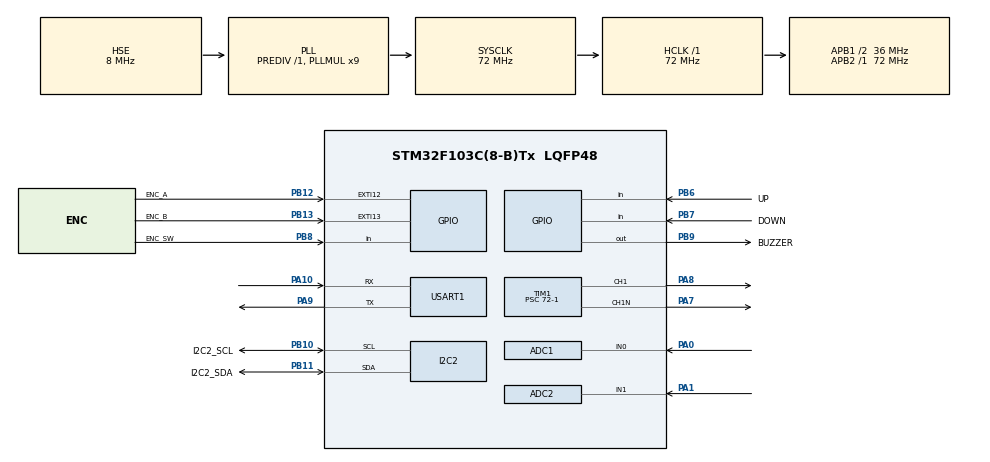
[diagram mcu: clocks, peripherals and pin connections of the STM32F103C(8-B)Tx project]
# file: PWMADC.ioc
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ADC1.Channel-0\#ChannelRegularConversion=ADC_CHANNEL_0
ADC1.ContinuousConvMode=DISABLE
ADC1.Mode=ADC_DUALMODE_REGSIMULT
ADC1.NbrOfConversion=1
ADC1.NbrOfConversionFlag=1
ADC1.Rank-0\#ChannelRegularConversion=1
ADC1.SamplingTime-0\#ChannelRegularConversion=ADC_SAMPLETIME_13CYCLES_5
ADC1.master=1
ADC2.Channel-0\#ChannelRegularConversion=ADC_CHANNEL_1
ADC2.Mode=ADC_DUALMODE_REGSIMULT
ADC2.NbrOfConversionFlag=1
ADC2.Rank-0\#ChannelRegularConversion=1
ADC2.SamplingTime-0\#ChannelRegularConversion=ADC_SAMPLETIME_13CYCLES_5
Mcu.Family=STM32F1
Mcu.Name=STM32F103C(8-B)Tx
Mcu.Package=LQFP48
NVIC.EXTI15_10_IRQn=true\:1\:0\:true\:false\:true\:true\:true\:true
NVIC.PriorityGroup=NVIC_PRIORITYGROUP_4
NVIC.USART1_IRQn=true\:2\:0\:true\:false\:true\:true\:true\:true
PA0-WKUP.Signal=ADCx_IN0
PA1.Signal=ADCx_IN1
PA10.Mode=Asynchronous
PA10.Signal=USART1_RX
PA13.Mode=Serial_Wire
PA13.Signal=SYS_JTMS-SWDIO
PA14.Mode=Serial_Wire
PA14.Signal=SYS_JTCK-SWCLK
PA7.Mode=PWM Generation1 CH1 CH1N
PA7.Signal=TIM1_CH1N
PA8.Signal=S_TIM1_CH1
PA9.Mode=Asynchronous
PA9.Signal=USART1_TX
PB10.GPIO_Label=I2C2_SCL
PB10.GPIO_Mode=GPIO_MODE_AF_OD
PB10.Mode=I2C
PB10.Signal=I2C2_SCL
PB11.GPIO_Label=I2C2_SDA
PB11.Mode=I2C
PB11.Signal=I2C2_SDA
PB12.GPIO_Label=ENC_A
PB12.GPIO_ModeDefaultEXTI=GPIO_MODE_IT_RISING_FALLING
PB12.GPIO_PuPd=GPIO_PULLUP
PB12.Signal=GPXTI12
PB13.GPIO_Label=ENC_B
PB13.GPIO_ModeDefaultEXTI=GPIO_MODE_IT_RISING_FALLING
PB13.GPIO_PuPd=GPIO_PULLUP
PB13.Signal=GPXTI13
PB6.GPIO_Label=UP
PB6.GPIO_PuPd=GPIO_PULLUP
PB6.Signal=GPIO_Input
PB7.GPIO_Label=DOWN
PB7.GPIO_PuPd=GPIO_PULLUP
PB7.Signal=GPIO_Input
PB8.GPIO_Label=ENC_SW
PB8.GPIO_PuPd=GPIO_PULLUP
PB8.Signal=GPIO_Input
PB9.GPIO_Label=BUZZER
PB9.GPIO_Speed=GPIO_SPEED_FREQ_LOW
PB9.PinState=GPIO_PIN_SET
PB9.Signal=GPIO_Output
PD0-OSC_IN.Mode=HSE-External-Oscillator
PD0-OSC_IN.Signal=RCC_OSC_IN
PD1-OSC_OUT.Mode=HSE-External-Oscillator
PD1-OSC_OUT.Signal=RCC_OSC_OUT
ProjectManager.HeapSize=0x200
ProjectManager.StackSize=0x400
ProjectManager.TargetToolchain=CMake
RCC.ADCPresc=RCC_ADCPCLK2_DIV6
RCC.AHBFreq_Value=72000000
RCC.APB1CLKDivider=RCC_HCLK_DIV2
RCC.APB1Freq_Value=36000000
RCC.APB1TimFreq_Value=72000000
RCC.APB2Freq_Value=72000000
RCC.APB2TimFreq_Value=72000000
RCC.HCLKFreq_Value=72000000
RCC.PLLMUL=RCC_PLL_MUL9
RCC.PLLSourceVirtual=RCC_PLLSOURCE_HSE
RCC.SYSCLKFreq_VALUE=72000000
RCC.SYSCLKSource=RCC_SYSCLKSOURCE_PLLCLK
RCC.USBFreq_Value=72000000
SH.ADCx_IN0.0=ADC1_IN0,IN0
SH.ADCx_IN1.0=ADC2_IN1,IN1
SH.S_TIM1_CH1.0=TIM1_CH1,PWM Generation1 CH1 CH1N
TIM1.Channel-PWM\ Generation1\ CH1\ CH1N=TIM_CHANNEL_1
TIM1.DeadTime=72
TIM1.Period=100-1
TIM1.Prescaler=72-1
TIM1.Pulse-PWM\ Generation1\ CH1\ CH1N=50
USART1.VirtualMode=VM_ASYNC
board=custom

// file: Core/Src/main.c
/* USER CODE BEGIN Header */
/**
  ******************************************************************************
  * @file           : main.c
  * @brief          : Main program body
  ******************************************************************************
  * @attention
  *
  * Copyright (c) 2026 STMicroelectronics.
  * All rights reserved.
  *
  * This software is licensed under terms that can be found in the LICENSE file
  * in the root directory of this software component.
  * If no LICENSE file comes with this software, it is provided AS-IS.
  *
  ******************************************************************************
  */
/* USER CODE END Header */
#include "main.h"

/* USER CODE BEGIN Includes */
#include <stdio.h>
#include <stdlib.h>
#include <string.h>

/* USER CODE END Includes */

/* USER CODE BEGIN PD */
#define ADC_REFERENCE_MV 3300U
#define ADC_FULL_SCALE   4095U
#define CURRENT_SETPOINT_MIN_MA 0U
#define CURRENT_SETPOINT_MAX_MA 600U
#define CURRENT_ALARM_THRESHOLD_MA 550U
#define KEY_SCAN_PERIOD_MS 1U
#define KEY_DEBOUNCE_MS 30U
#define ENC_SW_DEBOUNCE_MS 8U
#define ENCODER_STEP_DEBOUNCE_MS 3U
#define ADC_PRINT_PERIOD_MS 500U
#define DISPLAY_REFRESH_PERIOD_MS 500U
#define LCD_RECOVERY_PERIOD_MS 3000U
#define PWM_DUTY_DEFAULT_LIMIT_PERMILLE 900U
#define PWM_DUTY_HARD_LIMIT_PERMILLE 900U
#define CURRENT_SENSE_RESISTOR_MOHM 5620L
#define ADC1_TRUE_NUMERATOR 11UL
#define ADC1_TRUE_DENOMINATOR 10UL
#define ADC2_TRUE_NUMERATOR 11UL
#define ADC2_TRUE_DENOMINATOR 1UL
#define ADC_AVERAGE_SAMPLES 32U
#define ADC_TRIM_DISCARD_SAMPLES 8U
#define ADC_SAMPLE_SPACING_MS 1U
#define ADC_CURRENT_FIT_SCALE 1000000LL
#define ADC_CURRENT_FIT_GAIN 924258LL
#define ADC_CURRENT_FIT_OFFSET_SCALED 1041609LL
#define ADC_LOW_CURRENT_THRESHOLD_UA 20000UL
#define ADC_VERY_LOW_CURRENT_THRESHOLD_UA 10000UL
#define ADC_VERY_LOW_CURRENT_CORRECTION_NUMERATOR 940UL
#define ADC_VERY_LOW_CURRENT_CORRECTION_DENOMINATOR 1000UL
#define ADC_LOW_CURRENT_FIT_GAIN 915000LL
#define ADC_LOW_CURRENT_FIT_OFFSET_SCALED 0LL
#define ADC_HIGH_CORRECTION_START_UA 100000UL
#define ADC_HIGH_CORRECTION_NUMERATOR 2170UL
#define ADC_HIGH_CORRECTION_DENOMINATOR 100000UL
#define PID_CONTROL_PERIOD_MS 50U
#define PID_STEP_LIMIT_PERMILLE 20L
#define PID_LOW_CURRENT_STEP_LIMIT_PERMILLE 20L
#define PID_MEAS_FILTER_SHIFT 3U
#define PID_LOW_CURRENT_MEAS_FILTER_SHIFT 1U
#define PID_VERY_LOW_CURRENT_MEAS_FILTER_SHIFT 1U
#define PID_DUTY_FINE_SCALE 1000L
#define PID_USE_FEEDFORWARD 0U
#define TIM1_FINE_PWM_PRESCALER 8U
#define TIM1_FINE_PWM_PERIOD_COUNTS 6000U
#define FEEDFORWARD_TABLE_SIZE 51U
#define LCD_COLUMNS 16U
#define LCD_ROWS 2U
#define LCD_I2C_BACKLIGHT 0x08U
#define LCD_I2C_ENABLE 0x04U
#define LCD_I2C_READ_WRITE 0x02U
#define LCD_I2C_REGISTER_SELECT 0x01U
#define LCD_MAP_TEST_MODE 0U
#define LCD_MAP_TEST_HOLD_MS 2500U

/* USER CODE END PD */

ADC_HandleTypeDef hadc1;
ADC_HandleTypeDef hadc2;

I2C_HandleTypeDef hi2c2;

TIM_HandleTypeDef htim1;

UART_HandleTypeDef huart1;

/* USER CODE BEGIN PV */
typedef struct
{
  uint8_t rs;
  uint8_t rw;
  uint8_t en;
  uint8_t bl;
  uint8_t d4;
  uint8_t d5;
  uint8_t d6;
  uint8_t d7;
  const char *name;
} LCD_I2C_MapTypeDef;

const LCD_I2C_MapTypeDef lcd_i2c_maps[] = {
  {0x01U, 0x02U, 0x04U, 0x08U, 0x10U, 0x20U, 0x40U, 0x80U, "P0RS P4D4"},
  {0x80U, 0x40U, 0x20U, 0x10U, 0x01U, 0x02U, 0x04U, 0x08U, "P7RS P0D4"},
  {0x04U, 0x02U, 0x01U, 0x08U, 0x10U, 0x20U, 0x40U, 0x80U, "P2RS P4D4"},
  {0x01U, 0x02U, 0x04U, 0x80U, 0x10U, 0x20U, 0x40U, 0x08U, "P0RS D7P3"}
};
const uint8_t lcd_i2c_map_count = (uint8_t)(sizeof(lcd_i2c_maps) / sizeof(lcd_i2c_maps[0]));
uint8_t lcd_i2c_map_index = 0U;
uint16_t adc1_value = 0;
uint16_t adc2_value = 0;
uint32_t adc1_voltage_mv = 0;
uint32_t adc2_voltage_mv = 0;
volatile uint16_t current_setpoint_ma = 0;
uint16_t displayed_current_setpoint_ma = 0xFFFFU;
uint8_t lcd_ready = 0;
uint8_t lcd_test_mode = 0U;
uint16_t lcd_i2c_addr = 0U;
char uart_message[512] = "";
char uart_rx_line[48] = "";
uint8_t uart_rx_line_index = 0;
uint8_t uart_rx_byte = 0;
volatile uint8_t uart_command_ready = 0;
char uart_command_line[48] = "";
int32_t pid_kp_milli = 50;
int32_t pid_ki_milli = 80;
int32_t pid_kd_milli = 0;
uint8_t pid_enabled = 0;
int32_t pid_integral_permille_fine = 0;
int32_t pid_last_error_ua = 0;
int32_t pid_measured_current_ma = 0;
int32_t pid_error_ma = 0;
int32_t pid_measured_current_ua = 0;
int32_t pid_error_ua = 0;
int32_t pid_filtered_current_ua = 0;
uint8_t pid_filter_initialized = 0U;
int32_t pid_feedforward_permille = 0;
int32_t pid_trim_permille = 0;
int32_t pid_p_term_permille = 0;
int32_t pid_p_term_permille_fine = 0;
uint16_t pwm_duty_permille = 0;
uint16_t pwm_duty_limit_permille = PWM_DUTY_DEFAULT_LIMIT_PERMILLE;
volatile uint8_t encoder_switch_press_events = 0;
volatile GPIO_PinState encoder_switch_stable_state = GPIO_PIN_SET;
volatile int16_t encoder_delta_steps = 0;
const uint16_t feedforward_current_ma[FEEDFORWARD_TABLE_SIZE] = {
  0U, 10U, 20U, 30U, 40U, 50U, 60U, 70U, 80U, 90U,
  100U, 110U, 120U, 130U, 140U, 150U, 160U, 170U, 180U, 190U,
  200U, 210U, 220U, 230U, 240U, 250U, 260U, 270U, 280U, 290U,
  300U, 310U, 320U, 330U, 340U, 350U, 360U, 370U, 380U, 390U,
  400U, 410U, 420U, 430U, 440U, 450U, 460U, 470U, 480U, 490U,
  500U
};
const uint16_t feedforward_duty_permille[FEEDFORWARD_TABLE_SIZE] = {
  0U, 18U, 36U, 54U, 71U, 87U, 104U, 120U, 137U, 153U,
  170U, 186U, 202U, 219U, 235U, 251U, 268U, 284U, 301U, 317U,
  333U, 350U, 364U, 378U, 392U, 407U, 424U, 440U, 456U, 472U,
  488U, 504U, 520U, 537U, 553U, 569U, 585U, 602U, 618U, 634U,
  650U, 666U, 682U, 698U, 714U, 730U, 746U, 762U, 778U, 794U,
  810U
};

/* USER CODE END PV */

void SystemClock_Config(void);
static void MX_GPIO_Init(void);
static void MX_TIM1_Init(void);
static void MX_ADC1_Init(void);
static void MX_ADC2_Init(void);
static void MX_USART1_UART_Init(void);
static void MX_I2C2_Init(void);
/* USER CODE BEGIN PFP */
static HAL_StatusTypeDef Read_Dual_ADC_Once(void);
static uint16_t ADC_Trimmed_Average(uint16_t *samples, uint8_t count, uint8_t trim_discard);
static void Print_Dual_ADC_Values(void);
static void Process_Current_Set_Keys(void);
static void Process_Encoder_Transition(uint16_t GPIO_Pin);
static void Process_Encoder_Delta(void);
static void Process_Encoder_Switch_Events(void);
static void Process_UART_Command_Bytes(void);
static void Set_PWM_Duty_Permille(uint16_t duty_permille);
static uint16_t Estimate_Feedforward_Duty_Permille(uint16_t setpoint_ma);
static uint32_t Get_Measured_Current_uA(void);
static uint16_t Get_Measured_Current_Centi_mA(void);
static void Reset_PID_State(void);
static void Prepare_PID_Start(void);
static void Apply_Current_Setpoint(void);
static void Update_PID_Control(void);
static void Update_Buzzer(void);
static HAL_StatusTypeDef LCD_Init(void);
static void LCD_Show_Status(void);
static void LCD_Show_Map_Test(void);
static void LCD_Print_Diagnostic(const char *tag);
static void LCD_Print_I2C_Scan(void);
static void LCD_Clear(void);
void Encoder_Switch_1ms_Task(void);

/* USER CODE END PFP */

/* USER CODE BEGIN 0 */
static HAL_StatusTypeDef Read_Dual_ADC_Once(void)
{
  HAL_StatusTypeDef status = HAL_OK;
  uint32_t dual_adc_value = 0;
  uint16_t adc1_samples[ADC_AVERAGE_SAMPLES] = {0};
  uint16_t adc2_samples[ADC_AVERAGE_SAMPLES] = {0};
  uint16_t adc1_trimmed = 0;
  uint16_t adc2_trimmed = 0;
  uint8_t sample = 0;

  adc1_value = 0;
  adc2_value = 0;
  adc1_voltage_mv = 0;
  adc2_voltage_mv = 0;

  for (sample = 0U; sample < ADC_AVERAGE_SAMPLES; sample++)
  {
    __HAL_ADC_CLEAR_FLAG(&hadc1, ADC_FLAG_EOC);
    __HAL_ADC_CLEAR_FLAG(&hadc2, ADC_FLAG_EOC);

    status = HAL_ADC_Start(&hadc2);
    if (status != HAL_OK)
    {
      return status;
    }

    status = HAL_ADC_Start(&hadc1);
    if (status != HAL_OK)
    {
      HAL_ADC_Stop(&hadc2);
      return status;
    }

    status = HAL_ADC_PollForConversion(&hadc1, 10);
    if (status != HAL_OK)
    {
      HAL_ADC_Stop(&hadc1);
      HAL_ADC_Stop(&hadc2);
      return status;
    }

    dual_adc_value = HAL_ADCEx_MultiModeGetValue(&hadc1);
    adc1_samples[sample] = (uint16_t)(dual_adc_value & 0xFFFFU);
    adc2_samples[sample] = (uint16_t)((dual_adc_value >> 16U) & 0xFFFFU);

    HAL_ADC_Stop(&hadc1);
    HAL_ADC_Stop(&hadc2);

    if ((sample + 1U) < ADC_AVERAGE_SAMPLES)
    {
      HAL_Delay(ADC_SAMPLE_SPACING_MS);
    }
  }

  adc1_trimmed = ADC_Trimmed_Average(adc1_samples, ADC_AVERAGE_SAMPLES, ADC_TRIM_DISCARD_SAMPLES);
  adc2_trimmed = ADC_Trimmed_Average(adc2_samples, ADC_AVERAGE_SAMPLES, ADC_TRIM_DISCARD_SAMPLES);

  adc1_value = adc1_trimmed;
  adc2_value = adc2_trimmed;

  adc1_voltage_mv = (((uint32_t)adc1_value * ADC_REFERENCE_MV) / ADC_FULL_SCALE);
  adc2_voltage_mv = (((uint32_t)adc2_value * ADC_REFERENCE_MV) / ADC_FULL_SCALE);
  adc1_voltage_mv = (adc1_voltage_mv * ADC1_TRUE_NUMERATOR) / ADC1_TRUE_DENOMINATOR;
  adc2_voltage_mv = (adc2_voltage_mv * ADC2_TRUE_NUMERATOR) / ADC2_TRUE_DENOMINATOR;

  return HAL_OK;
}

static void Print_Dual_ADC_Values(void)
{
  int length = snprintf(uart_message,
                        sizeof(uart_message),
                        "Set:%umA IMEAS:%ld.%03ldmA ERR:%c%ld.%03ldmA | ADC1:%u,%lu.%03luV ADC2:%u,%lu.%03luV | FF:%ld.%ld%% TRIM:%ld.%ld%% P:%ld.%ld%% I:%ld.%ld%% OUT:%u.%u%% LIM:%u.%u%% | SW:%u EVT:%u | I2C:0x%02X | PID:%s KP:%ld.%03ld KI:%ld.%03ld KD:%ld.%03ld\r\n",
                        current_setpoint_ma,
                        pid_measured_current_ua / 1000L,
                        labs(pid_measured_current_ua % 1000L),
                        (pid_error_ua < 0L) ? '-' : '+',
                        labs(pid_error_ua / 1000L),
                        labs(pid_error_ua % 1000L),
                        adc1_value,
                        adc1_voltage_mv / 1000UL,
                        adc1_voltage_mv % 1000UL,
                        adc2_value,
                        adc2_voltage_mv / 1000UL,
                        adc2_voltage_mv % 1000UL,
                        pid_feedforward_permille / 10L,
                        labs(pid_feedforward_permille % 10L),
                        pid_trim_permille / 10L,
                        labs(pid_trim_permille % 10L),
                        pid_p_term_permille / 10L,
                        labs(pid_p_term_permille % 10L),
                        (pid_integral_permille_fine / PID_DUTY_FINE_SCALE) / 10L,
                        labs((pid_integral_permille_fine / PID_DUTY_FINE_SCALE) % 10L),
                        pwm_duty_permille / 10U,
                        pwm_duty_permille % 10U,
                        pwm_duty_limit_permille / 10U,
                        pwm_duty_limit_permille % 10U,
                        (encoder_switch_stable_state == GPIO_PIN_RESET) ? 0U : 1U,
                        encoder_switch_press_events,
                        (unsigned int)(lcd_i2c_addr >> 1U),
                        pid_enabled ? "ON" : "OFF",
                        pid_kp_milli / 1000L,
                        pid_kp_milli % 1000L,
                        pid_ki_milli / 1000L,
                        pid_ki_milli % 1000L,
                        pid_kd_milli / 1000L,
                        pid_kd_milli % 1000L);

  if (length > 0)
  {
    if ((uint32_t)length >= sizeof(uart_message))
    {
      length = sizeof(uart_message) - 1;
    }
    HAL_UART_Transmit(&huart1, (uint8_t *)uart_message, (uint16_t)length, 100);
  }
}

static void UART_SendLine(const char *text)
{
  HAL_UART_Transmit(&huart1, (uint8_t *)text, (uint16_t)strlen(text), 100);
  HAL_UART_Transmit(&huart1, (uint8_t *)"\r\n", 2, 100);
}

static int32_t Parse_Fixed3(const char *text)
{
  int32_t sign = 1;
  int32_t integer_part = 0;
  int32_t fraction_part = 0;
  uint8_t fraction_digits = 0;

  if (*text == '-')
  {
    sign = -1;
    text++;
  }

  while ((*text >= '0') && (*text <= '9'))
  {
    integer_part = integer_part * 10 + (*text - '0');
    text++;
  }

  if (*text == '.')
  {
    text++;
    while ((*text >= '0') && (*text <= '9') && (fraction_digits < 3U))
    {
      fraction_part = fraction_part * 10 + (*text - '0');
      fraction_digits++;
      text++;
    }
  }

  while (fraction_digits < 3U)
  {
    fraction_part *= 10;
    fraction_digits++;
  }

  return sign * (integer_part * 1000 + fraction_part);
}

static uint16_t Parse_U16_Limited(const char *text, uint16_t min_value, uint16_t max_value)
{
  uint32_t value = 0;

  while ((*text >= '0') && (*text <= '9'))
  {
    value = value * 10U + (uint32_t)(*text - '0');
    text++;
  }

  if (value < min_value)
  {
    value = min_value;
  }
  else if (value > max_value)
  {
    value = max_value;
  }

  return (uint16_t)value;
}

static void Send_PID_Status(void)
{
  int length = snprintf(uart_message,
                        sizeof(uart_message),
                        "STATUS PID:%s SET:%umA DUTY:%u.%u%% LIM:%u.%u%% SW:%u EVT:%u KP:%ld.%03ld KI:%ld.%03ld KD:%ld.%03ld",
                        pid_enabled ? "ON" : "OFF",
                        current_setpoint_ma,
                        pwm_duty_permille / 10U,
                        pwm_duty_permille % 10U,
                        pwm_duty_limit_permille / 10U,
                        pwm_duty_limit_permille % 10U,
                        (encoder_switch_stable_state == GPIO_PIN_RESET) ? 0U : 1U,
                        encoder_switch_press_events,
                        pid_kp_milli / 1000L,
                        pid_kp_milli % 1000L,
                        pid_ki_milli / 1000L,
                        pid_ki_milli % 1000L,
                        pid_kd_milli / 1000L,
                        pid_kd_milli % 1000L);

  if (length > 0)
  {
    if ((uint32_t)length >= sizeof(uart_message))
    {
      length = sizeof(uart_message) - 1;
    }
    HAL_UART_Transmit(&huart1, (uint8_t *)uart_message, (uint16_t)length, 100);
    HAL_UART_Transmit(&huart1, (uint8_t *)"\r\n", 2, 100);
  }
}

static void Process_UART_Command_Line(char *line)
{
  if (strncmp(line, "KP=", 3) == 0)
  {
    pid_kp_milli = Parse_Fixed3(&line[3]);
    UART_SendLine("OK KP");
  }
  else if (strncmp(line, "KI=", 3) == 0)
  {
    pid_ki_milli = Parse_Fixed3(&line[3]);
    UART_SendLine("OK KI");
  }
  else if (strncmp(line, "KD=", 3) == 0)
  {
    pid_kd_milli = Parse_Fixed3(&line[3]);
    UART_SendLine("OK KD");
  }
  else if (strncmp(line, "SET=", 4) == 0)
  {
    current_setpoint_ma = Parse_U16_Limited(&line[4], CURRENT_SETPOINT_MIN_MA, CURRENT_SETPOINT_MAX_MA);
    Apply_Current_Setpoint();
    LCD_Show_Status();
    UART_SendLine("OK SET");
  }
  else if (strncmp(line, "DUTY=", 5) == 0)
  {
    int32_t duty_permille = Parse_Fixed3(&line[5]) / 100L;
    if (duty_permille < 0)
    {
      duty_permille = 0;
    }
    pid_enabled = 0U;
    Set_PWM_Duty_Permille((uint16_t)duty_permille);
    Reset_PID_State();
    LCD_Clear();
    LCD_Show_Status();
    UART_SendLine("OK DUTY");
  }
  else if (strncmp(line, "DUTYMAX=", 8) == 0)
  {
    uint16_t requested_limit = (uint16_t)(Parse_Fixed3(&line[8]) / 100L);
    if (requested_limit > PWM_DUTY_HARD_LIMIT_PERMILLE)
    {
      requested_limit = PWM_DUTY_HARD_LIMIT_PERMILLE;
    }
    pwm_duty_limit_permille = requested_limit;
    if (pwm_duty_permille > pwm_duty_limit_permille)
    {
      Set_PWM_Duty_Permille(pwm_duty_limit_permille);
    }
    UART_SendLine("OK DUTYMAX");
  }
  else if (strcmp(line, "START") == 0)
  {
    Prepare_PID_Start();
    pid_enabled = 1U;
    UART_SendLine("OK START");
  }
  else if (strcmp(line, "STOP") == 0)
  {
    pid_enabled = 0U;
    Set_PWM_Duty_Permille(0);
    Reset_PID_State();
    UART_SendLine("OK STOP");
  }
  else if (strcmp(line, "PIDRESET") == 0)
  {
    Reset_PID_State();
    UART_SendLine("OK PIDRESET");
  }
  else if (strcmp(line, "STATUS") == 0)
  {
    Send_PID_Status();
  }
  else if (strcmp(line, "HELP") == 0)
  {
    UART_SendLine("CMD: KP=0.020 KI=0.001 KD=0.000 SET=100 DUTY=5.0 DUTYMAX=90.0 START STOP PIDRESET STATUS");
  }
  else
  {
    UART_SendLine("ERR UNKNOWN CMD");
  }
}

static void Process_UART_Command_Bytes(void)
{
  if (uart_command_ready != 0U)
  {
    __disable_irq();
    uart_command_ready = 0U;
    __enable_irq();
    Process_UART_Command_Line(uart_command_line);
  }
}

void HAL_UART_RxCpltCallback(UART_HandleTypeDef *huart)
{
  if (huart->Instance == USART1)
  {
    if ((uart_rx_byte == '\r') || (uart_rx_byte == '\n'))
    {
      if ((uart_rx_line_index > 0U) && (uart_command_ready == 0U))
      {
        uart_rx_line[uart_rx_line_index] = '\0';
        for (uint8_t i = 0; i <= uart_rx_line_index; i++)
        {
          uart_command_line[i] = uart_rx_line[i];
        }
        uart_command_ready = 1U;
        uart_rx_line_index = 0U;
      }
    }
    else if (uart_rx_line_index < (sizeof(uart_rx_line) - 1U))
    {
      uart_rx_line[uart_rx_line_index] = (char)uart_rx_byte;
      uart_rx_line_index++;
    }
    else
    {
      uart_rx_line_index = 0U;
    }

    HAL_UART_Receive_IT(&huart1, &uart_rx_byte, 1);
  }
}

static void Set_PWM_Duty_Permille(uint16_t duty_permille)
{
  uint32_t timer_period_counts = (__HAL_TIM_GET_AUTORELOAD(&htim1) + 1U);
  uint32_t compare_value = 0;

  if (duty_permille > pwm_duty_limit_permille)
  {
    duty_permille = pwm_duty_limit_permille;
  }

  pwm_duty_permille = duty_permille;
  compare_value = (timer_period_counts * pwm_duty_permille) / 1000U;
  __HAL_TIM_SET_COMPARE(&htim1, TIM_CHANNEL_1, compare_value);
}

static uint16_t Estimate_Feedforward_Duty_Permille(uint16_t setpoint_ma)
{
  uint8_t index = 0;
  uint32_t duty = 0;
  uint32_t current_span = 0;
  uint32_t duty_span = 0;
  uint32_t current_offset = 0;

  if (PID_USE_FEEDFORWARD == 0U)
  {
    (void)setpoint_ma;
    return 0U;
  }

  if (setpoint_ma <= feedforward_current_ma[0])
  {
    return feedforward_duty_permille[0];
  }

  for (index = 1U; index < FEEDFORWARD_TABLE_SIZE; index++)
  {
    if (setpoint_ma <= feedforward_current_ma[index])
    {
      current_span = (uint32_t)feedforward_current_ma[index] - feedforward_current_ma[index - 1U];
      duty_span = (uint32_t)feedforward_duty_permille[index] - feedforward_duty_permille[index - 1U];
      current_offset = (uint32_t)setpoint_ma - feedforward_current_ma[index - 1U];
      duty = (uint32_t)feedforward_duty_permille[index - 1U] +
             ((duty_span * current_offset) / current_span);
      return (uint16_t)duty;
    }
  }

  return feedforward_duty_permille[FEEDFORWARD_TABLE_SIZE - 1U];
}

static uint32_t Get_Measured_Current_uA(void)
{
  if (pwm_duty_permille == 0U)
  {
    return 0UL;
  }

  uint64_t adc_voltage_uv = ((uint64_t)adc1_value * 3300000ULL * (uint64_t)ADC1_TRUE_NUMERATOR) /
                            ((uint64_t)ADC_FULL_SCALE * (uint64_t)ADC1_TRUE_DENOMINATOR);
  uint32_t measured_current_ua = (uint32_t)((adc_voltage_uv * 1000ULL +
                                            ((uint64_t)CURRENT_SENSE_RESISTOR_MOHM / 2ULL)) /
                                           (uint64_t)CURRENT_SENSE_RESISTOR_MOHM);

  /* DM3058-calibrated piecewise correction */
  if ((measured_current_ua > 0UL) && (measured_current_ua <= ADC_VERY_LOW_CURRENT_THRESHOLD_UA))
  {
    /* <10mA: ADC over-reads raw; 0.940 correction validated at SET=5mA */
    measured_current_ua = (uint32_t)(((uint64_t)measured_current_ua *
                                      (uint64_t)ADC_VERY_LOW_CURRENT_CORRECTION_NUMERATOR +
                                      ((uint64_t)ADC_VERY_LOW_CURRENT_CORRECTION_DENOMINATOR / 2ULL)) /
                                     (uint64_t)ADC_VERY_LOW_CURRENT_CORRECTION_DENOMINATOR);
  }
  else if (measured_current_ua > 12000UL)
  {
    /* >12mA: ADC under-reads by ~2% across range; global boost */
    measured_current_ua = (uint32_t)(((uint64_t)measured_current_ua * 1020ULL + 500ULL) / 1000ULL);
  }

  if (measured_current_ua > 65535000UL)
  {
    measured_current_ua = 65535000UL;
  }

  return measured_current_ua;
}

static uint16_t Get_Measured_Current_Centi_mA(void)
{
  uint32_t measured_current_centi_ma = (Get_Measured_Current_uA() + 5UL) / 10UL;

  if (measured_current_centi_ma > 65535UL)
  {
    measured_current_centi_ma = 65535UL;
  }

  return (uint16_t)measured_current_centi_ma;
}

static void Reset_PID_State(void)
{
  pid_integral_permille_fine = ((int32_t)pwm_duty_permille - pid_feedforward_permille) * PID_DUTY_FINE_SCALE;
  pid_last_error_ua = 0;
  pid_p_term_permille = 0;
  pid_p_term_permille_fine = 0;
  pid_filtered_current_ua = 0;
  pid_filter_initialized = 0U;
  pid_trim_permille = (int32_t)pwm_duty_permille - pid_feedforward_permille;
}

static void Prepare_PID_Start(void)
{
  uint16_t feedforward_duty_permille = Estimate_Feedforward_Duty_Permille(current_setpoint_ma);

  pid_feedforward_permille = (int32_t)feedforward_duty_permille;
  pid_integral_permille_fine = ((int32_t)pwm_duty_permille - pid_feedforward_permille) * PID_DUTY_FINE_SCALE;
  pid_trim_permille = (int32_t)pwm_duty_permille - pid_feedforward_permille;
  pid_p_term_permille = 0;
  pid_p_term_permille_fine = 0;
  pid_last_error_ua = 0;
  pid_filtered_current_ua = 0;
  pid_filter_initialized = 0U;
}

static void Apply_Current_Setpoint(void)
{
  if (current_setpoint_ma == 0U)
  {
    pid_enabled = 0U;
    Set_PWM_Duty_Permille(0);
    Reset_PID_State();
  }
  else
  {
    if (pid_enabled == 0U)
    {
      Prepare_PID_Start();
      pid_enabled = 1U;
    }
    else
    {
      pid_feedforward_permille = (int32_t)Estimate_Feedforward_Duty_Permille(current_setpoint_ma);
      pid_integral_permille_fine = ((int32_t)pwm_duty_permille - pid_feedforward_permille) * PID_DUTY_FINE_SCALE;
      pid_trim_permille = (int32_t)pwm_duty_permille - pid_feedforward_permille;
      pid_p_term_permille = 0;
      pid_p_term_permille_fine = 0;
      pid_last_error_ua = 0;
      pid_filtered_current_ua = 0;
      pid_filter_initialized = 0U;
    }
  }
}

static void Update_PID_Control(void)
{
  int32_t raw_current_ua = (int32_t)Get_Measured_Current_uA();
  int32_t measured_current_ua = raw_current_ua;
  int32_t measured_current_ma = (measured_current_ua + 500L) / 1000L;
  int32_t error_ua = ((int32_t)current_setpoint_ma * 1000L) - measured_current_ua;
  int32_t error_ma = (error_ua >= 0L) ? ((error_ua + 500L) / 1000L) : -(((-error_ua) + 500L) / 1000L);
  int32_t effective_kp_milli = pid_kp_milli;
  int32_t effective_ki_milli = pid_ki_milli;
  int32_t p_term_permille_fine = 0;
  int32_t i_delta_permille_fine = 0;
  int32_t requested_permille_fine = 0;
  int32_t requested_permille = 0;
  int32_t step_permille = 0;
  int32_t active_step_limit_permille = PID_STEP_LIMIT_PERMILLE;
  uint8_t meas_filter_shift = PID_MEAS_FILTER_SHIFT;
  int32_t trim_min_permille_fine = -pid_feedforward_permille * PID_DUTY_FINE_SCALE;
  int32_t trim_max_permille_fine = ((int32_t)pwm_duty_limit_permille - pid_feedforward_permille) * PID_DUTY_FINE_SCALE;

  if (current_setpoint_ma <= 10U)
  {
    meas_filter_shift = PID_VERY_LOW_CURRENT_MEAS_FILTER_SHIFT;
  }
  else if (current_setpoint_ma <= 20U)
  {
    meas_filter_shift = PID_LOW_CURRENT_MEAS_FILTER_SHIFT;
  }

  if (pid_filter_initialized == 0U)
  {
    pid_filtered_current_ua = raw_current_ua;
    pid_filter_initialized = 1U;
  }
  else
  {
    if (meas_filter_shift == 0U)
    {
      pid_filtered_current_ua = raw_current_ua;
    }
    else
    {
      pid_filtered_current_ua += (raw_current_ua - pid_filtered_current_ua) >> meas_filter_shift;
    }
  }

  measured_current_ua = pid_filtered_current_ua;
  measured_current_ma = (measured_current_ua + 500L) / 1000L;
  error_ua = ((int32_t)current_setpoint_ma * 1000L) - measured_current_ua;
  error_ma = (error_ua >= 0L) ? ((error_ua + 500L) / 1000L) : -(((-error_ua) + 500L) / 1000L);

  if (current_setpoint_ma < 20U)
  {
    effective_kp_milli = pid_kp_milli;
    effective_ki_milli = pid_ki_milli;
    active_step_limit_permille = PID_LOW_CURRENT_STEP_LIMIT_PERMILLE;
  }
  else if (current_setpoint_ma < 50U)
  {
    effective_kp_milli = pid_kp_milli;
    effective_ki_milli = pid_ki_milli;
    active_step_limit_permille = 10L;
  }

  if ((pid_kp_milli > 0L) && (effective_kp_milli < 1L))
  {
    effective_kp_milli = 1L;
  }
  if ((pid_ki_milli > 0L) && (effective_ki_milli < 1L))
  {
    effective_ki_milli = 1L;
  }

  p_term_permille_fine = (effective_kp_milli * error_ua) / 100L;
  i_delta_permille_fine = (effective_ki_milli * error_ua) / 100L;

  if (pid_enabled == 0U)
  {
    pid_measured_current_ma = measured_current_ma;
    pid_error_ma = error_ma;
    pid_measured_current_ua = measured_current_ua;
    pid_error_ua = error_ua;
    pid_p_term_permille = 0;
    pid_p_term_permille_fine = 0;
    pid_trim_permille = (int32_t)pwm_duty_permille - pid_feedforward_permille;
    pid_last_error_ua = error_ua;
    return;
  }

  pid_measured_current_ma = measured_current_ma;
  pid_error_ma = error_ma;
  pid_measured_current_ua = measured_current_ua;
  pid_error_ua = error_ua;
  pid_p_term_permille_fine = p_term_permille_fine;
  pid_p_term_permille = (p_term_permille_fine >= 0L) ?
                        ((p_term_permille_fine + (PID_DUTY_FINE_SCALE / 2L)) / PID_DUTY_FINE_SCALE) :
                        -(((-p_term_permille_fine) + (PID_DUTY_FINE_SCALE / 2L)) / PID_DUTY_FINE_SCALE);
  pid_integral_permille_fine += i_delta_permille_fine;

  if (pid_integral_permille_fine < trim_min_permille_fine)
  {
    pid_integral_permille_fine = trim_min_permille_fine;
  }
  else if (pid_integral_permille_fine > trim_max_permille_fine)
  {
    pid_integral_permille_fine = trim_max_permille_fine;
  }

  requested_permille_fine = (pid_feedforward_permille * PID_DUTY_FINE_SCALE) +
                            p_term_permille_fine +
                            pid_integral_permille_fine;

  if (requested_permille_fine < 0L)
  {
    requested_permille_fine = 0L;
  }
  else if (requested_permille_fine > ((int32_t)pwm_duty_limit_permille * PID_DUTY_FINE_SCALE))
  {
    requested_permille_fine = (int32_t)pwm_duty_limit_permille * PID_DUTY_FINE_SCALE;
  }

  requested_permille = (requested_permille_fine + (PID_DUTY_FINE_SCALE / 2L)) / PID_DUTY_FINE_SCALE;
  step_permille = requested_permille - (int32_t)pwm_duty_permille;
  if (step_permille > active_step_limit_permille)
  {
    requested_permille = (int32_t)pwm_duty_permille + active_step_limit_permille;
  }
  else if (step_permille < -active_step_limit_permille)
  {
    requested_permille = (int32_t)pwm_duty_permille - active_step_limit_permille;
  }

  Set_PWM_Duty_Permille((uint16_t)requested_permille);
  pid_trim_permille = (int32_t)pwm_duty_permille - pid_feedforward_permille;
  pid_last_error_ua = error_ua;
}

static void Adjust_Current_Setpoint(int16_t delta_ma)
{
  int32_t next_setpoint = (int32_t)current_setpoint_ma + delta_ma;

  if (next_setpoint < (int32_t)CURRENT_SETPOINT_MIN_MA)
  {
    next_setpoint = CURRENT_SETPOINT_MIN_MA;
  }
  else if (next_setpoint > (int32_t)CURRENT_SETPOINT_MAX_MA)
  {
    next_setpoint = CURRENT_SETPOINT_MAX_MA;
  }

  current_setpoint_ma = (uint16_t)next_setpoint;
  Apply_Current_Setpoint();
  LCD_Show_Status();
}

void Encoder_Switch_1ms_Task(void)
{
  static GPIO_PinState last_raw_state = GPIO_PIN_SET;
  static GPIO_PinState debounced_state = GPIO_PIN_SET;
  static uint8_t stable_time_ms = 0;
  GPIO_PinState raw_state = HAL_GPIO_ReadPin(ENC_SW_GPIO_Port, ENC_SW_Pin);

  if (raw_state == last_raw_state)
  {
    if (stable_time_ms < ENC_SW_DEBOUNCE_MS)
    {
      stable_time_ms++;
    }
  }
  else
  {
    stable_time_ms = 0;
    last_raw_state = raw_state;
  }

  if ((stable_time_ms >= ENC_SW_DEBOUNCE_MS) && (raw_state != debounced_state))
  {
    debounced_state = raw_state;
    encoder_switch_stable_state = debounced_state;

    if (debounced_state == GPIO_PIN_RESET)
    {
      if (encoder_switch_press_events < 10U)
      {
        encoder_switch_press_events++;
      }
    }
  }
}

static void Handle_Key(GPIO_TypeDef *gpio_port,
                       uint16_t gpio_pin,
                       GPIO_PinState *last_raw_state,
                       GPIO_PinState *stable_state,
                       uint32_t *last_change_tick,
                       int16_t delta_ma)
{
  GPIO_PinState raw_state = HAL_GPIO_ReadPin(gpio_port, gpio_pin);
  uint32_t now_tick = HAL_GetTick();

  if (raw_state != *last_raw_state)
  {
    *last_raw_state = raw_state;
    *last_change_tick = now_tick;
  }

  if ((now_tick - *last_change_tick) >= KEY_DEBOUNCE_MS)
  {
    if (raw_state != *stable_state)
    {
      *stable_state = raw_state;
      if (*stable_state == GPIO_PIN_RESET)
      {
        Adjust_Current_Setpoint(delta_ma);
      }
    }
  }
}

static void Process_Current_Set_Keys(void)
{
  static GPIO_PinState up_last_raw_state = GPIO_PIN_SET;
  static GPIO_PinState up_stable_state = GPIO_PIN_SET;
  static uint32_t up_last_change_tick = 0;
  static GPIO_PinState down_last_raw_state = GPIO_PIN_SET;
  static GPIO_PinState down_stable_state = GPIO_PIN_SET;
  static uint32_t down_last_change_tick = 0;

  Handle_Key(UP_GPIO_Port,
             UP_Pin,
             &up_last_raw_state,
             &up_stable_state,
             &up_last_change_tick,
             1);
  Handle_Key(DOWN_GPIO_Port,
             DOWN_Pin,
             &down_last_raw_state,
             &down_stable_state,
             &down_last_change_tick,
             -1);
}

static void Process_Encoder_Switch_Events(void)
{
  encoder_switch_press_events = 0U;
}

static void Process_Encoder_Transition(uint16_t GPIO_Pin)
{
  static uint32_t last_step_tick = 0U;
  uint32_t now_tick = HAL_GetTick();

  if (GPIO_Pin != ENC_A_Pin)
  {
    return;
  }

  if (HAL_GPIO_ReadPin(ENC_A_GPIO_Port, ENC_A_Pin) != GPIO_PIN_RESET)
  {
    return;
  }

  if ((now_tick - last_step_tick) < ENCODER_STEP_DEBOUNCE_MS)
  {
    return;
  }

  last_step_tick = now_tick;
  if (HAL_GPIO_ReadPin(ENC_B_GPIO_Port, ENC_B_Pin) == GPIO_PIN_SET)
  {
    if (encoder_delta_steps < 20)
    {
      encoder_delta_steps++;
    }
  }
  else
  {
    if (encoder_delta_steps > -20)
    {
      encoder_delta_steps--;
    }
  }
}

static void Process_Encoder_Delta(void)
{
  int16_t delta = 0;

  __disable_irq();
  delta = encoder_delta_steps;
  encoder_delta_steps = 0;
  __enable_irq();

  if (delta != 0)
  {
    Adjust_Current_Setpoint(delta);
  }
}

void HAL_GPIO_EXTI_Callback(uint16_t GPIO_Pin)
{
  if ((GPIO_Pin == ENC_A_Pin) || (GPIO_Pin == ENC_B_Pin))
  {
    Process_Encoder_Transition(GPIO_Pin);
  }
}

static void Update_Buzzer(void)
{
  GPIO_PinState buzzer_state = (current_setpoint_ma >= CURRENT_ALARM_THRESHOLD_MA) ? GPIO_PIN_RESET : GPIO_PIN_SET;

  HAL_GPIO_WritePin(BUZZER_GPIO_Port, BUZZER_Pin, buzzer_state);
}

static HAL_StatusTypeDef LCD_I2C_WriteExpander(uint8_t data)
{
  return HAL_I2C_Master_Transmit(&hi2c2, lcd_i2c_addr, &data, 1U, 100U);
}

static uint8_t LCD_I2C_BuildByte(uint8_t nibble, uint8_t control)
{
  const LCD_I2C_MapTypeDef *map = &lcd_i2c_maps[lcd_i2c_map_index];
  uint8_t data = map->bl;

  if ((control & LCD_I2C_REGISTER_SELECT) != 0U)
  {
    data |= map->rs;
  }
  if ((control & LCD_I2C_READ_WRITE) != 0U)
  {
    data |= map->rw;
  }
  if ((nibble & 0x01U) != 0U)
  {
    data |= map->d4;
  }
  if ((nibble & 0x02U) != 0U)
  {
    data |= map->d5;
  }
  if ((nibble & 0x04U) != 0U)
  {
    data |= map->d6;
  }
  if ((nibble & 0x08U) != 0U)
  {
    data |= map->d7;
  }

  return data;
}

static HAL_StatusTypeDef LCD_I2C_Write4Bits(uint8_t nibble, uint8_t control)
{
  const LCD_I2C_MapTypeDef *map = &lcd_i2c_maps[lcd_i2c_map_index];
  uint8_t data = LCD_I2C_BuildByte((uint8_t)(nibble & 0x0FU), control);

  if (LCD_I2C_WriteExpander((uint8_t)(data | map->en)) != HAL_OK)
  {
    return HAL_ERROR;
  }
  HAL_Delay(1);
  if (LCD_I2C_WriteExpander((uint8_t)(data & (uint8_t)~map->en)) != HAL_OK)
  {
    return HAL_ERROR;
  }
  HAL_Delay(1);

  return HAL_OK;
}

static HAL_StatusTypeDef LCD_WriteByte(uint8_t value, uint8_t control)
{
  if (LCD_I2C_Write4Bits((uint8_t)(value >> 4U), control) != HAL_OK)
  {
    return HAL_ERROR;
  }
  if (LCD_I2C_Write4Bits((uint8_t)(value & 0x0FU), control) != HAL_OK)
  {
    return HAL_ERROR;
  }

  return HAL_OK;
}

static HAL_StatusTypeDef LCD_WriteCommand(uint8_t command)
{
  if (LCD_WriteByte(command, 0U) != HAL_OK)
  {
    return HAL_ERROR;
  }

  if ((command == 0x01U) || (command == 0x02U))
  {
    HAL_Delay(2);
  }
  else
  {
    HAL_Delay(1);
  }

  return HAL_OK;
}

static HAL_StatusTypeDef LCD_WriteData(uint8_t data)
{
  if (LCD_WriteByte(data, LCD_I2C_REGISTER_SELECT) != HAL_OK)
  {
    return HAL_ERROR;
  }
  HAL_Delay(1);

  return HAL_OK;
}

static void LCD_Clear(void)
{
  if (lcd_ready != 0U)
  {
    (void)LCD_WriteCommand(0x01U);
    HAL_Delay(2);
  }
}

static void LCD_SetCursor(uint8_t row, uint8_t column)
{
  static const uint8_t row_offsets[LCD_ROWS] = {0x00U, 0x40U};

  if (row >= LCD_ROWS)
  {
    row = 0U;
  }
  if (column >= LCD_COLUMNS)
  {
    column = 0U;
  }

  (void)LCD_WriteCommand((uint8_t)(0x80U | (row_offsets[row] + column)));
}

static void LCD_WriteLine(uint8_t row, const char *text)
{
  uint8_t column = 0;

  LCD_SetCursor(row, 0U);
  while ((column < LCD_COLUMNS) && (*text != '\0'))
  {
    (void)LCD_WriteData((uint8_t)*text);
    text++;
    column++;
  }
  while (column < LCD_COLUMNS)
  {
    (void)LCD_WriteData((uint8_t)' ');
    column++;
  }
}

static HAL_StatusTypeDef LCD_Init_Selected_Map(void)
{
  HAL_Delay(50);
  if (LCD_I2C_Write4Bits(0x03U, 0U) != HAL_OK)
  {
    return HAL_ERROR;
  }
  HAL_Delay(10);
  if (LCD_I2C_Write4Bits(0x03U, 0U) != HAL_OK)
  {
    return HAL_ERROR;
  }
  HAL_Delay(10);
  if (LCD_I2C_Write4Bits(0x03U, 0U) != HAL_OK)
  {
    return HAL_ERROR;
  }
  HAL_Delay(10);
  if (LCD_I2C_Write4Bits(0x02U, 0U) != HAL_OK)
  {
    return HAL_ERROR;
  }
  HAL_Delay(10);

  if (LCD_WriteCommand(0x28U) != HAL_OK)
  {
    return HAL_ERROR;
  }
  HAL_Delay(5);
  if (LCD_WriteCommand(0x0CU) != HAL_OK)
  {
    return HAL_ERROR;
  }
  HAL_Delay(5);
  if (LCD_WriteCommand(0x06U) != HAL_OK)
  {
    return HAL_ERROR;
  }
  HAL_Delay(5);
  if (LCD_WriteCommand(0x01U) != HAL_OK)
  {
    return HAL_ERROR;
  }
  HAL_Delay(5);

  return HAL_OK;
}

static HAL_StatusTypeDef LCD_Init(void)
{
  const uint16_t common_addresses[] = {
    (uint16_t)(0x27U << 1U),
    (uint16_t)(0x3FU << 1U),
    (uint16_t)(0x20U << 1U),
    (uint16_t)(0x21U << 1U),
    (uint16_t)(0x22U << 1U),
    (uint16_t)(0x23U << 1U),
    (uint16_t)(0x24U << 1U),
    (uint16_t)(0x25U << 1U),
    (uint16_t)(0x26U << 1U),
    (uint16_t)(0x38U << 1U),
    (uint16_t)(0x39U << 1U),
    (uint16_t)(0x3AU << 1U),
    (uint16_t)(0x3BU << 1U),
    (uint16_t)(0x3CU << 1U),
    (uint16_t)(0x3DU << 1U),
    (uint16_t)(0x3EU << 1U)
  };

  lcd_i2c_addr = 0U;
  for (uint8_t i = 0U; i < (uint8_t)(sizeof(common_addresses) / sizeof(common_addresses[0])); i++)
  {
    if (HAL_I2C_IsDeviceReady(&hi2c2, common_addresses[i], 2U, 100U) == HAL_OK)
    {
      lcd_i2c_addr = common_addresses[i];
      break;
    }
  }

  if (lcd_i2c_addr == 0U)
  {
    return HAL_ERROR;
  }

  if (LCD_Init_Selected_Map() != HAL_OK)
  {
    return HAL_ERROR;
  }

  return HAL_OK;
}

static uint16_t ADC_Trimmed_Average(uint16_t *samples, uint8_t count, uint8_t trim_discard)
{
  uint8_t i = 0U;
  uint8_t j = 0U;
  uint8_t start = trim_discard;
  uint8_t end = count - trim_discard;
  uint32_t sum = 0UL;
  uint8_t used_count = 0U;

  for (i = 1U; i < count; i++)
  {
    uint16_t key = samples[i];
    j = i;
    while ((j > 0U) && (samples[j - 1U] > key))
    {
      samples[j] = samples[j - 1U];
      j--;
    }
    samples[j] = key;
  }

  if (end <= start)
  {
    start = 0U;
    end = count;
  }

  for (i = start; i < end; i++)
  {
    sum += samples[i];
    used_count++;
  }

  if (used_count == 0U)
  {
    return 0U;
  }

  return (uint16_t)((sum + ((uint32_t)used_count / 2UL)) / (uint32_t)used_count);
}

static void LCD_Show_Status(void)
{
  char line0[17] = "";
  char line1[24] = "";
  uint16_t measured_current_centi_ma = 0U;

  if (lcd_ready == 0U)
  {
    return;
  }

  snprintf(line0,
           sizeof(line0),
           "Set:%3umA",
           current_setpoint_ma);
  if (pid_filter_initialized != 0U)
  {
    measured_current_centi_ma = (uint16_t)((pid_filtered_current_ua + 5L) / 10L);
  }
  else
  {
    measured_current_centi_ma = Get_Measured_Current_Centi_mA();
  }
  snprintf(line1,
           sizeof(line1),
           "I:%3u.%02u D:%2u%%",
           measured_current_centi_ma / 100U,
           measured_current_centi_ma % 100U,
           (pwm_duty_permille + 5U) / 10U);

  LCD_WriteLine(0U, line0);
  LCD_WriteLine(1U, line1);
  displayed_current_setpoint_ma = current_setpoint_ma;
}

static void LCD_Show_Map_Test(void)
{
  int length = 0;

  if (lcd_ready == 0U)
  {
    LCD_Print_Diagnostic("LCDMAP:ERR");
    return;
  }

  if (LCD_Init_Selected_Map() != HAL_OK)
  {
    return;
  }

  LCD_WriteLine(0U, "AAAAAAAAAAAAAAAA");
  LCD_WriteLine(1U, "8888888888888888");

  length = snprintf(uart_message,
                    sizeof(uart_message),
                    "LCDMAP:%u %s ADDR:0x%02X\r\n",
                    (unsigned int)lcd_i2c_map_index,
                    lcd_i2c_maps[lcd_i2c_map_index].name,
                    (unsigned int)(lcd_i2c_addr >> 1U));
  if (length > 0)
  {
    if ((uint32_t)length >= sizeof(uart_message))
    {
      length = sizeof(uart_message) - 1;
    }
    HAL_UART_Transmit(&huart1, (uint8_t *)uart_message, (uint16_t)length, 100);
  }
}

static void LCD_Print_Diagnostic(const char *tag)
{
  int length = snprintf(uart_message,
                        sizeof(uart_message),
                        "%s READY:%u MAP:%u ADDR:0x%02X\r\n",
                        tag,
                        (unsigned int)lcd_ready,
                        (unsigned int)lcd_i2c_map_index,
                        (unsigned int)(lcd_i2c_addr >> 1U));

  if (length > 0)
  {
    if ((uint32_t)length >= sizeof(uart_message))
    {
      length = sizeof(uart_message) - 1;
    }
    HAL_UART_Transmit(&huart1, (uint8_t *)uart_message, (uint16_t)length, 100);
  }
}

static void LCD_Print_I2C_Scan(void)
{
  uint8_t found_count = 0U;

  UART_SendLine("I2CSCAN:BEGIN");
  for (uint8_t addr = 0x03U; addr <= 0x77U; addr++)
  {
    if (HAL_I2C_IsDeviceReady(&hi2c2, (uint16_t)(addr << 1U), 1U, 20U) == HAL_OK)
    {
      int length = snprintf(uart_message,
                            sizeof(uart_message),
                            "I2CSCAN:FOUND 0x%02X\r\n",
                            (unsigned int)addr);
      found_count++;
      if (length > 0)
      {
        if ((uint32_t)length >= sizeof(uart_message))
        {
          length = sizeof(uart_message) - 1;
        }
        HAL_UART_Transmit(&huart1, (uint8_t *)uart_message, (uint16_t)length, 100);
      }
    }
  }

  if (found_count == 0U)
  {
    UART_SendLine("I2CSCAN:NONE");
  }
  UART_SendLine("I2CSCAN:END");
}

/* USER CODE END 0 */

int main(void)
{

  /* MCU Configuration--------------------------------------------------------*/

  /* Reset of all peripherals, Initializes the Flash interface and the Systick. */
  HAL_Init();

  /* Configure the system clock */
  SystemClock_Config();

  /* Initialize all configured peripherals */
  MX_GPIO_Init();
  MX_TIM1_Init();
  MX_ADC1_Init();
  MX_ADC2_Init();
  MX_USART1_UART_Init();
  HAL_UART_Transmit(&huart1, (uint8_t *)"BOOT USART1 OK\r\n", 16, 100);
  MX_I2C2_Init();
  /* USER CODE BEGIN 2 */
  HAL_UART_Transmit(&huart1, (uint8_t *)"I2C2 INIT OK\r\n", 14, 100);
  lcd_ready = (LCD_Init() == HAL_OK) ? 1U : 0U;
  if (LCD_MAP_TEST_MODE != 0U)
  {
    LCD_Show_Map_Test();
  }
  else
  {
    LCD_Show_Status();
  }
  {
    int length = snprintf(uart_message,
                          sizeof(uart_message),
                          "LCD:%s ADDR:0x%02X\r\n",
                          (lcd_ready != 0U) ? "OK" : "ERR",
                          (unsigned int)(lcd_i2c_addr >> 1U));
    if (length > 0)
    {
      if ((uint32_t)length >= sizeof(uart_message))
      {
        length = sizeof(uart_message) - 1;
      }
      HAL_UART_Transmit(&huart1, (uint8_t *)uart_message, (uint16_t)length, 100);
    }
  }

  if (HAL_ADCEx_Calibration_Start(&hadc2) != HAL_OK)
  {
    Error_Handler();
  }
  if (HAL_ADCEx_Calibration_Start(&hadc1) != HAL_OK)
  {
    Error_Handler();
  }

  if (HAL_TIM_PWM_Start(&htim1, TIM_CHANNEL_1) != HAL_OK)
  {
    Error_Handler();
  }
  if (HAL_TIMEx_PWMN_Start(&htim1, TIM_CHANNEL_1) != HAL_OK)
  {
    Error_Handler();
  }
  Set_PWM_Duty_Permille(0);
  if (HAL_UART_Receive_IT(&huart1, &uart_rx_byte, 1) != HAL_OK)
  {
    Error_Handler();
  }
  HAL_UART_Transmit(&huart1, (uint8_t *)"ADC and PWM started\r\n", 21, 100);
  HAL_GPIO_WritePin(BUZZER_GPIO_Port, BUZZER_Pin, GPIO_PIN_SET);

  /* USER CODE END 2 */

  /* Infinite loop */
  /* USER CODE BEGIN WHILE */
  uint32_t last_adc_control_tick = 0;
  uint32_t last_adc_print_tick = 0;
  uint32_t last_display_refresh_tick = 0;
  uint32_t last_lcd_recovery_tick = 0;
  uint8_t lcd_recovery_count = 0U;
  while (1)
  {
    /* USER CODE END WHILE */

    /* USER CODE BEGIN 3 */
    Process_UART_Command_Bytes();
    Process_Encoder_Delta();
    Process_Encoder_Switch_Events();
    Process_Current_Set_Keys();
    Update_Buzzer();
    if ((LCD_MAP_TEST_MODE != 0U) &&
        ((HAL_GetTick() - last_display_refresh_tick) >= LCD_MAP_TEST_HOLD_MS))
    {
      last_display_refresh_tick = HAL_GetTick();
      if (lcd_ready == 0U)
      {
        LCD_Print_I2C_Scan();
        lcd_ready = (LCD_Init() == HAL_OK) ? 1U : 0U;
      }
      else
      {
        lcd_i2c_map_index++;
        if (lcd_i2c_map_index >= lcd_i2c_map_count)
        {
          lcd_i2c_map_index = 0U;
        }
      }
      LCD_Show_Map_Test();
    }
    else if ((HAL_GetTick() - last_display_refresh_tick) >= DISPLAY_REFRESH_PERIOD_MS)
    {
      last_display_refresh_tick = HAL_GetTick();
      if (lcd_ready == 0U)
      {
        lcd_ready = (LCD_Init() == HAL_OK) ? 1U : 0U;
      }
      else if ((lcd_recovery_count < 5U) &&
               ((HAL_GetTick() - last_lcd_recovery_tick) >= LCD_RECOVERY_PERIOD_MS))
      {
        last_lcd_recovery_tick = HAL_GetTick();
        lcd_ready = (LCD_Init_Selected_Map() == HAL_OK) ? 1U : 0U;
        lcd_recovery_count++;
      }
      LCD_Show_Status();
    }

    if ((HAL_GetTick() - last_adc_control_tick) >= PID_CONTROL_PERIOD_MS)
    {
      last_adc_control_tick = HAL_GetTick();
      if (Read_Dual_ADC_Once() == HAL_OK)
      {
        Update_PID_Control();
      }
      else
      {
        HAL_UART_Transmit(&huart1, (uint8_t *)"ADC read failed\r\n", 17, 100);
      }
    }

    if ((HAL_GetTick() - last_adc_print_tick) >= ADC_PRINT_PERIOD_MS)
    {
      last_adc_print_tick = HAL_GetTick();
      Print_Dual_ADC_Values();
    }

    HAL_Delay(KEY_SCAN_PERIOD_MS);
  }
  /* USER CODE END 3 */
}

void SystemClock_Config(void)
{
  RCC_OscInitTypeDef RCC_OscInitStruct = {0};
  RCC_ClkInitTypeDef RCC_ClkInitStruct = {0};
  RCC_PeriphCLKInitTypeDef PeriphClkInit = {0};

  /** Initializes the RCC Oscillators according to the specified parameters
  * in the RCC_OscInitTypeDef structure.
  */
  RCC_OscInitStruct.OscillatorType = RCC_OSCILLATORTYPE_HSE;
  RCC_OscInitStruct.HSEState = RCC_HSE_ON;
  RCC_OscInitStruct.HSEPredivValue = RCC_HSE_PREDIV_DIV1;
  RCC_OscInitStruct.HSIState = RCC_HSI_ON;
  RCC_OscInitStruct.PLL.PLLState = RCC_PLL_ON;
  RCC_OscInitStruct.PLL.PLLSource = RCC_PLLSOURCE_HSE;
  RCC_OscInitStruct.PLL.PLLMUL = RCC_PLL_MUL9;
  if (HAL_RCC_OscConfig(&RCC_OscInitStruct) != HAL_OK)
  {
    Error_Handler();
  }

  /** Initializes the CPU, AHB and APB buses clocks
  */
  RCC_ClkInitStruct.ClockType = RCC_CLOCKTYPE_HCLK|RCC_CLOCKTYPE_SYSCLK
                              |RCC_CLOCKTYPE_PCLK1|RCC_CLOCKTYPE_PCLK2;
  RCC_ClkInitStruct.SYSCLKSource = RCC_SYSCLKSOURCE_PLLCLK;
  RCC_ClkInitStruct.AHBCLKDivider = RCC_SYSCLK_DIV1;
  RCC_ClkInitStruct.APB1CLKDivider = RCC_HCLK_DIV2;
  RCC_ClkInitStruct.APB2CLKDivider = RCC_HCLK_DIV1;

  if (HAL_RCC_ClockConfig(&RCC_ClkInitStruct, FLASH_LATENCY_2) != HAL_OK)
  {
    Error_Handler();
  }
  PeriphClkInit.PeriphClockSelection = RCC_PERIPHCLK_ADC;
  PeriphClkInit.AdcClockSelection = RCC_ADCPCLK2_DIV6;
  if (HAL_RCCEx_PeriphCLKConfig(&PeriphClkInit) != HAL_OK)
  {
    Error_Handler();
  }
}

static void MX_ADC1_Init(void)
{

  ADC_MultiModeTypeDef multimode = {0};
  ADC_ChannelConfTypeDef sConfig = {0};

  /** Common config
  */
  hadc1.Instance = ADC1;
  hadc1.Init.ScanConvMode = ADC_SCAN_DISABLE;
  hadc1.Init.ContinuousConvMode = DISABLE;
  hadc1.Init.DiscontinuousConvMode = DISABLE;
  hadc1.Init.ExternalTrigConv = ADC_SOFTWARE_START;
  hadc1.Init.DataAlign = ADC_DATAALIGN_RIGHT;
  hadc1.Init.NbrOfConversion = 1;
  if (HAL_ADC_Init(&hadc1) != HAL_OK)
  {
    Error_Handler();
  }

  /** Configure the ADC multi-mode
  */
  multimode.Mode = ADC_DUALMODE_REGSIMULT;
  if (HAL_ADCEx_MultiModeConfigChannel(&hadc1, &multimode) != HAL_OK)
  {
    Error_Handler();
  }

  /** Configure Regular Channel
  */
  sConfig.Channel = ADC_CHANNEL_0;
  sConfig.Rank = ADC_REGULAR_RANK_1;
  sConfig.SamplingTime = ADC_SAMPLETIME_13CYCLES_5;
  if (HAL_ADC_ConfigChannel(&hadc1, &sConfig) != HAL_OK)
  {
    Error_Handler();
  }

}

static void MX_ADC2_Init(void)
{

  ADC_ChannelConfTypeDef sConfig = {0};

  /** Common config
  */
  hadc2.Instance = ADC2;
  hadc2.Init.ScanConvMode = ADC_SCAN_DISABLE;
  hadc2.Init.ContinuousConvMode = DISABLE;
  hadc2.Init.DiscontinuousConvMode = DISABLE;
  hadc2.Init.ExternalTrigConv = ADC_SOFTWARE_START;
  hadc2.Init.DataAlign = ADC_DATAALIGN_RIGHT;
  hadc2.Init.NbrOfConversion = 1;
  if (HAL_ADC_Init(&hadc2) != HAL_OK)
  {
    Error_Handler();
  }

  /** Configure Regular Channel
  */
  sConfig.Channel = ADC_CHANNEL_1;
  sConfig.Rank = ADC_REGULAR_RANK_1;
  sConfig.SamplingTime = ADC_SAMPLETIME_13CYCLES_5;
  if (HAL_ADC_ConfigChannel(&hadc2, &sConfig) != HAL_OK)
  {
    Error_Handler();
  }

}

static void MX_I2C2_Init(void)
{

  hi2c2.Instance = I2C2;
  hi2c2.Init.ClockSpeed = 50000;
  hi2c2.Init.DutyCycle = I2C_DUTYCYCLE_2;
  hi2c2.Init.OwnAddress1 = 0;
  hi2c2.Init.AddressingMode = I2C_ADDRESSINGMODE_7BIT;
  hi2c2.Init.DualAddressMode = I2C_DUALADDRESS_DISABLE;
  hi2c2.Init.OwnAddress2 = 0;
  hi2c2.Init.GeneralCallMode = I2C_GENERALCALL_DISABLE;
  hi2c2.Init.NoStretchMode = I2C_NOSTRETCH_DISABLE;
  if (HAL_I2C_Init(&hi2c2) != HAL_OK)
  {
    Error_Handler();
  }

}

static void MX_TIM1_Init(void)
{

  TIM_MasterConfigTypeDef sMasterConfig = {0};
  TIM_OC_InitTypeDef sConfigOC = {0};
  TIM_BreakDeadTimeConfigTypeDef sBreakDeadTimeConfig = {0};

  htim1.Instance = TIM1;
  htim1.Init.Prescaler = 72-1;
  htim1.Init.CounterMode = TIM_COUNTERMODE_UP;
  htim1.Init.Period = 100-1;
  htim1.Init.ClockDivision = TIM_CLOCKDIVISION_DIV1;
  htim1.Init.RepetitionCounter = 0;
  htim1.Init.AutoReloadPreload = TIM_AUTORELOAD_PRELOAD_DISABLE;
  if (HAL_TIM_PWM_Init(&htim1) != HAL_OK)
  {
    Error_Handler();
  }
  sMasterConfig.MasterOutputTrigger = TIM_TRGO_RESET;
  sMasterConfig.MasterSlaveMode = TIM_MASTERSLAVEMODE_DISABLE;
  if (HAL_TIMEx_MasterConfigSynchronization(&htim1, &sMasterConfig) != HAL_OK)
  {
    Error_Handler();
  }
  sConfigOC.OCMode = TIM_OCMODE_PWM1;
  sConfigOC.Pulse = 50;
  sConfigOC.OCPolarity = TIM_OCPOLARITY_HIGH;
  sConfigOC.OCNPolarity = TIM_OCNPOLARITY_HIGH;
  sConfigOC.OCFastMode = TIM_OCFAST_DISABLE;
  sConfigOC.OCIdleState = TIM_OCIDLESTATE_RESET;
  sConfigOC.OCNIdleState = TIM_OCNIDLESTATE_RESET;
  if (HAL_TIM_PWM_ConfigChannel(&htim1, &sConfigOC, TIM_CHANNEL_1) != HAL_OK)
  {
    Error_Handler();
  }
  sBreakDeadTimeConfig.OffStateRunMode = TIM_OSSR_DISABLE;
  sBreakDeadTimeConfig.OffStateIDLEMode = TIM_OSSI_DISABLE;
  sBreakDeadTimeConfig.LockLevel = TIM_LOCKLEVEL_OFF;
  sBreakDeadTimeConfig.DeadTime = 72;
  sBreakDeadTimeConfig.BreakState = TIM_BREAK_DISABLE;
  sBreakDeadTimeConfig.BreakPolarity = TIM_BREAKPOLARITY_HIGH;
  sBreakDeadTimeConfig.AutomaticOutput = TIM_AUTOMATICOUTPUT_DISABLE;
  if (HAL_TIMEx_ConfigBreakDeadTime(&htim1, &sBreakDeadTimeConfig) != HAL_OK)
  {
    Error_Handler();
  }
  /* USER CODE BEGIN TIM1_Init 2 */
  __HAL_TIM_SET_PRESCALER(&htim1, TIM1_FINE_PWM_PRESCALER - 1U);
  __HAL_TIM_SET_AUTORELOAD(&htim1, TIM1_FINE_PWM_PERIOD_COUNTS - 1U);
  __HAL_TIM_SET_COMPARE(&htim1, TIM_CHANNEL_1, 0U);

  /* USER CODE END TIM1_Init 2 */
  HAL_TIM_MspPostInit(&htim1);

}

static void MX_USART1_UART_Init(void)
{

  huart1.Instance = USART1;
  huart1.Init.BaudRate = 115200;
  huart1.Init.WordLength = UART_WORDLENGTH_8B;
  huart1.Init.StopBits = UART_STOPBITS_1;
  huart1.Init.Parity = UART_PARITY_NONE;
  huart1.Init.Mode = UART_MODE_TX_RX;
  huart1.Init.HwFlowCtl = UART_HWCONTROL_NONE;
  huart1.Init.OverSampling = UART_OVERSAMPLING_16;
  if (HAL_UART_Init(&huart1) != HAL_OK)
  {
    Error_Handler();
  }

}

static void MX_GPIO_Init(void)
{
  GPIO_InitTypeDef GPIO_InitStruct = {0};

  /* GPIO Ports Clock Enable */
  __HAL_RCC_GPIOD_CLK_ENABLE();
  __HAL_RCC_GPIOA_CLK_ENABLE();
  __HAL_RCC_GPIOB_CLK_ENABLE();

  /*Configure GPIO pin Output Level */
  HAL_GPIO_WritePin(BUZZER_GPIO_Port, BUZZER_Pin, GPIO_PIN_SET);

  /*Configure GPIO pins : ENC_A_Pin ENC_B_Pin */
  GPIO_InitStruct.Pin = ENC_A_Pin|ENC_B_Pin;
  GPIO_InitStruct.Mode = GPIO_MODE_IT_RISING_FALLING;
  GPIO_InitStruct.Pull = GPIO_PULLUP;
  HAL_GPIO_Init(GPIOB, &GPIO_InitStruct);

  /*Configure GPIO pins : UP_Pin DOWN_Pin ENC_SW_Pin */
  GPIO_InitStruct.Pin = UP_Pin|DOWN_Pin|ENC_SW_Pin;
  GPIO_InitStruct.Mode = GPIO_MODE_INPUT;
  GPIO_InitStruct.Pull = GPIO_PULLUP;
  HAL_GPIO_Init(GPIOB, &GPIO_InitStruct);

  /*Configure GPIO pin : BUZZER_Pin */
  GPIO_InitStruct.Pin = BUZZER_Pin;
  GPIO_InitStruct.Mode = GPIO_MODE_OUTPUT_PP;
  GPIO_InitStruct.Pull = GPIO_NOPULL;
  GPIO_InitStruct.Speed = GPIO_SPEED_FREQ_LOW;
  HAL_GPIO_Init(BUZZER_GPIO_Port, &GPIO_InitStruct);

  /* EXTI interrupt init*/
  HAL_NVIC_SetPriority(EXTI15_10_IRQn, 1, 0);
  HAL_NVIC_EnableIRQ(EXTI15_10_IRQn);

}

void Error_Handler(void)
{
  __disable_irq();
  while (1)
  {
  }
}
